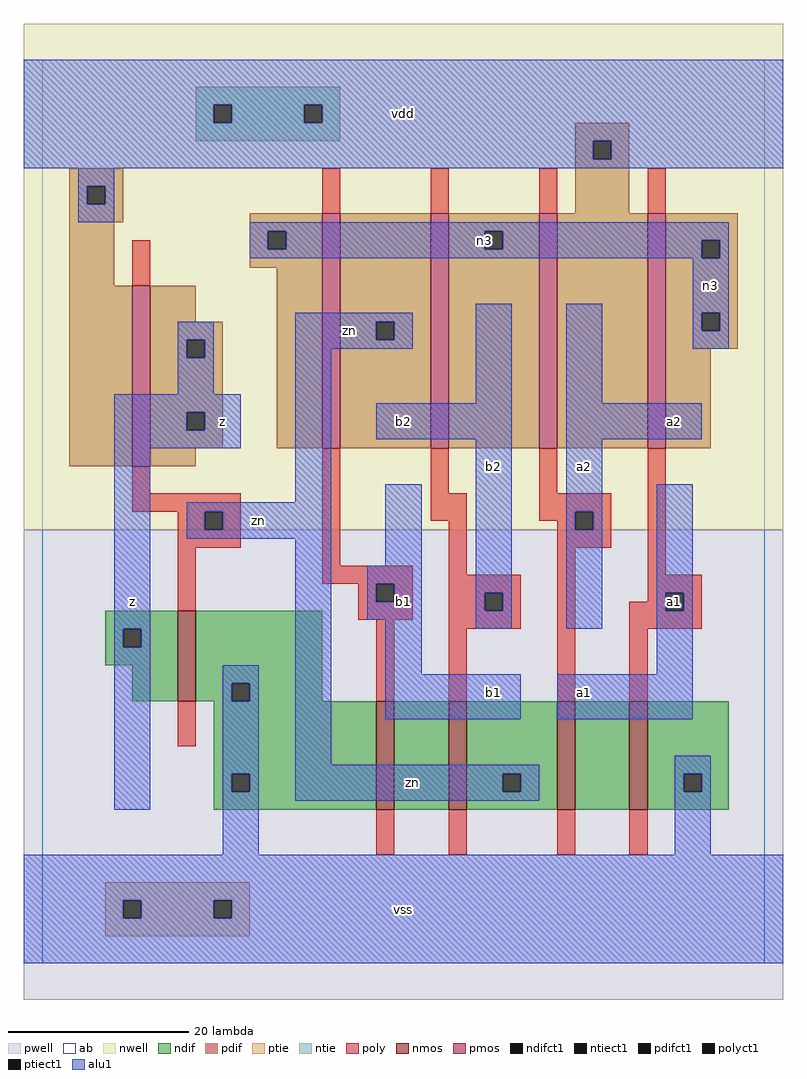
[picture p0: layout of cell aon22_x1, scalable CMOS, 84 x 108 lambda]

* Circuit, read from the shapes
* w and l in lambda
.subckt aon22_x1 a1 a2 b1 b2 n3 vdd vss z zn
M1 vss zn z vss nfet w=10 l=2
M2 n1 b1 vss vss nfet w=12 l=2
M3 zn b2 n1 vss nfet w=12 l=2
M4 n2 a2 zn vss nfet w=12 l=2
M5 vss a1 n2 vss nfet w=12 l=2
M6 z zn vdd vdd pfet w=20 l=2
M7 zn b1 n3 vdd pfet w=26 l=2
M8 n3 b2 zn vdd pfet w=26 l=2
M9 vdd a2 n3 vdd pfet w=26 l=2
M10 n3 a1 vdd vdd pfet w=26 l=2
.ends

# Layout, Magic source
magic
tech scmos
<< ab >>
rect 0 0 80 100
<< nwell >>
rect -2 48 82 104
<< pwell >>
rect -2 -4 82 48
<< poly >>
rect 31 83 33 88
rect 43 83 45 88
rect 55 83 57 88
rect 67 83 69 88
rect 10 75 12 80
rect 10 52 12 55
rect 10 50 22 52
rect 15 48 18 50
rect 20 48 22 50
rect 15 46 22 48
rect 15 39 17 46
rect 31 44 33 57
rect 43 52 45 57
rect 55 52 57 57
rect 43 49 47 52
rect 55 50 63 52
rect 55 49 59 50
rect 31 42 41 44
rect 35 40 37 42
rect 39 40 41 42
rect 35 38 41 40
rect 45 43 47 49
rect 57 48 59 49
rect 61 48 63 50
rect 57 46 63 48
rect 45 41 53 43
rect 45 39 49 41
rect 51 39 53 41
rect 37 29 39 38
rect 45 37 53 39
rect 45 29 47 37
rect 57 29 59 46
rect 67 43 69 57
rect 67 41 73 43
rect 67 40 69 41
rect 65 39 69 40
rect 71 39 73 41
rect 65 37 73 39
rect 65 29 67 37
rect 15 24 17 29
rect 37 12 39 17
rect 45 12 47 17
rect 57 12 59 17
rect 65 12 67 17
<< ndif >>
rect 7 37 15 39
rect 7 35 9 37
rect 11 35 15 37
rect 7 33 15 35
rect 10 29 15 33
rect 17 31 31 39
rect 17 29 21 31
rect 23 29 31 31
rect 19 21 37 29
rect 19 19 21 21
rect 23 19 37 21
rect 19 17 37 19
rect 39 17 45 29
rect 47 21 57 29
rect 47 19 51 21
rect 53 19 57 21
rect 47 17 57 19
rect 59 17 65 29
rect 67 21 76 29
rect 67 19 71 21
rect 73 19 76 21
rect 67 17 76 19
<< pdif >>
rect 59 91 65 93
rect 59 89 61 91
rect 63 89 65 91
rect 3 86 9 88
rect 3 84 5 86
rect 7 84 9 86
rect 3 82 9 84
rect 59 83 65 89
rect 3 75 8 82
rect 23 81 31 83
rect 23 79 25 81
rect 27 79 31 81
rect 23 77 31 79
rect 3 55 10 75
rect 12 71 17 75
rect 12 69 20 71
rect 12 67 16 69
rect 18 67 20 69
rect 12 61 20 67
rect 12 59 16 61
rect 18 59 20 61
rect 12 57 20 59
rect 26 57 31 77
rect 33 71 43 83
rect 33 69 37 71
rect 39 69 43 71
rect 33 57 43 69
rect 45 81 55 83
rect 45 79 49 81
rect 51 79 55 81
rect 45 57 55 79
rect 57 57 67 83
rect 69 80 77 83
rect 69 78 73 80
rect 75 78 77 80
rect 69 72 77 78
rect 69 70 73 72
rect 75 70 77 72
rect 69 68 77 70
rect 69 57 74 68
rect 12 55 17 57
<< alu1 >>
rect -2 95 82 100
rect -2 93 19 95
rect 21 93 29 95
rect 31 93 82 95
rect -2 91 82 93
rect -2 89 61 91
rect 63 89 82 91
rect -2 88 82 89
rect 4 86 8 88
rect 4 84 5 86
rect 7 84 8 86
rect 4 82 8 84
rect 23 81 76 82
rect 23 79 25 81
rect 27 79 49 81
rect 51 80 76 81
rect 51 79 73 80
rect 23 78 73 79
rect 75 78 76 80
rect 28 71 41 72
rect 15 69 19 71
rect 15 67 16 69
rect 18 67 19 69
rect 15 63 19 67
rect 28 69 37 71
rect 39 69 41 71
rect 28 68 41 69
rect 8 61 22 63
rect 8 59 16 61
rect 18 59 22 61
rect 8 57 22 59
rect 8 37 12 57
rect 28 51 32 68
rect 48 62 52 73
rect 37 58 52 62
rect 16 50 32 51
rect 16 48 18 50
rect 20 48 32 50
rect 16 47 32 48
rect 8 35 9 37
rect 11 35 12 37
rect 8 17 12 35
rect 20 31 24 33
rect 20 29 21 31
rect 23 29 24 31
rect 20 21 24 29
rect 20 19 21 21
rect 23 19 24 21
rect 20 12 24 19
rect 28 22 32 47
rect 38 44 42 53
rect 36 42 42 44
rect 36 40 37 42
rect 39 40 42 42
rect 36 38 42 40
rect 38 32 42 38
rect 48 41 52 58
rect 48 39 49 41
rect 51 39 52 41
rect 48 37 52 39
rect 58 62 62 73
rect 72 72 76 78
rect 72 70 73 72
rect 75 70 76 72
rect 72 68 76 70
rect 58 58 73 62
rect 58 50 62 58
rect 58 48 59 50
rect 61 48 62 50
rect 58 37 62 48
rect 68 41 72 53
rect 68 39 69 41
rect 71 39 72 41
rect 68 32 72 39
rect 38 27 53 32
rect 57 27 72 32
rect 28 21 55 22
rect 28 19 51 21
rect 53 19 55 21
rect 28 18 55 19
rect 70 21 74 23
rect 70 19 71 21
rect 73 19 74 21
rect 70 12 74 19
rect -2 7 82 12
rect -2 5 9 7
rect 11 5 19 7
rect 21 5 82 7
rect -2 0 82 5
<< ptie >>
rect 7 7 23 9
rect 7 5 9 7
rect 11 5 19 7
rect 21 5 23 7
rect 7 3 23 5
<< ntie >>
rect 17 95 33 97
rect 17 93 19 95
rect 21 93 29 95
rect 31 93 33 95
rect 17 91 33 93
<< nmos >>
rect 15 29 17 39
rect 37 17 39 29
rect 45 17 47 29
rect 57 17 59 29
rect 65 17 67 29
<< pmos >>
rect 10 55 12 75
rect 31 57 33 83
rect 43 57 45 83
rect 55 57 57 83
rect 67 57 69 83
<< polyct1 >>
rect 18 48 20 50
rect 37 40 39 42
rect 59 48 61 50
rect 49 39 51 41
rect 69 39 71 41
<< ndifct1 >>
rect 9 35 11 37
rect 21 29 23 31
rect 21 19 23 21
rect 51 19 53 21
rect 71 19 73 21
<< ntiect1 >>
rect 19 93 21 95
rect 29 93 31 95
<< ptiect1 >>
rect 9 5 11 7
rect 19 5 21 7
<< pdifct1 >>
rect 61 89 63 91
rect 5 84 7 86
rect 25 79 27 81
rect 16 67 18 69
rect 16 59 18 61
rect 37 69 39 71
rect 49 79 51 81
rect 73 78 75 80
rect 73 70 75 72
<< labels >>
rlabel alu1 10 40 10 40 6 z
rlabel alu1 20 60 20 60 6 z
rlabel alu1 40 6 40 6 6 vss
rlabel alu1 40 40 40 40 6 b1
rlabel alu1 24 49 24 49 6 zn
rlabel alu1 40 60 40 60 6 b2
rlabel alu1 34 70 34 70 6 zn
rlabel alu1 40 94 40 94 6 vdd
rlabel alu1 41 20 41 20 6 zn
rlabel alu1 50 30 50 30 6 b1
rlabel alu1 60 30 60 30 6 a1
rlabel alu1 50 55 50 55 6 b2
rlabel alu1 60 55 60 55 6 a2
rlabel polyct1 70 40 70 40 6 a1
rlabel alu1 70 60 70 60 6 a2
rlabel alu1 74 75 74 75 6 n3
rlabel alu1 49 80 49 80 6 n3
<< end >>
